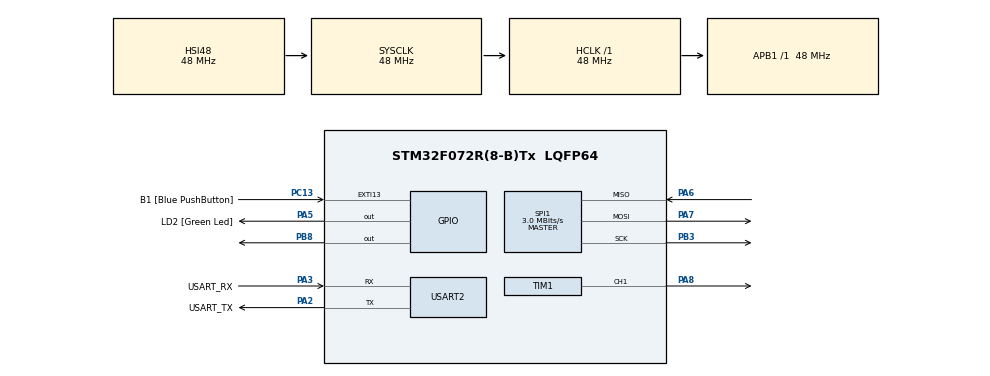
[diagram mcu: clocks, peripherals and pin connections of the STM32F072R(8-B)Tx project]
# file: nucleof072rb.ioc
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Mcu.Family=STM32F0
Mcu.Name=STM32F072R(8-B)Tx
Mcu.Package=LQFP64
PA13.GPIO_Label=TMS
PA13.Mode=Serial_Wire
PA13.Signal=SYS_SWDIO
PA14.GPIO_Label=TCK
PA14.Mode=Serial_Wire
PA14.Signal=SYS_SWCLK
PA2.GPIO_Label=USART_TX
PA2.GPIO_Mode=GPIO_MODE_AF_PP
PA2.GPIO_PuPd=GPIO_NOPULL
PA2.GPIO_Speed=GPIO_SPEED_FREQ_LOW
PA2.Mode=Asynchronous
PA2.Signal=USART2_TX
PA3.GPIO_Label=USART_RX
PA3.GPIO_Mode=GPIO_MODE_AF_PP
PA3.GPIO_PuPd=GPIO_NOPULL
PA3.GPIO_Speed=GPIO_SPEED_FREQ_LOW
PA3.Mode=Asynchronous
PA3.Signal=USART2_RX
PA5.GPIO_Label=LD2 [Green Led]
PA5.GPIO_Mode=GPIO_MODE_OUTPUT_PP
PA5.GPIO_PuPd=GPIO_NOPULL
PA5.GPIO_Speed=GPIO_SPEED_FREQ_LOW
PA5.Signal=GPIO_Output
PA6.Mode=Full_Duplex_Master
PA6.Signal=SPI1_MISO
PA7.Mode=Full_Duplex_Master
PA7.Signal=SPI1_MOSI
PA8.Signal=S_TIM1_CH1
PB3.Mode=Full_Duplex_Master
PB3.Signal=SPI1_SCK
PB8.Signal=GPIO_Output
PC13.GPIO_Label=B1 [Blue PushButton]
PC13.GPIO_ModeDefaultEXTI=GPIO_MODE_IT_FALLING
PC13.Signal=GPXTI13
PC14-OSC32_IN.Mode=LSE-External-Oscillator
PC14-OSC32_IN.Signal=RCC_OSC32_IN
PC15-OSC32_OUT.Mode=LSE-External-Oscillator
PC15-OSC32_OUT.Signal=RCC_OSC32_OUT
PF0-OSC_IN.Mode=HSE-External-Clock-Source
PF0-OSC_IN.Signal=RCC_OSC_IN
PF1-OSC_OUT.Signal=RCC_OSC_OUT
ProjectManager.HeapSize=0x200
ProjectManager.StackSize=0x400
ProjectManager.TargetToolchain=STM32CubeIDE
RCC.AHBFreq_Value=48000000
RCC.APB1Freq_Value=48000000
RCC.APB1TimFreq_Value=48000000
RCC.FLatency-AdvancedSettings=FLASH_LATENCY_1
RCC.HCLKFreq_Value=48000000
RCC.PLLDivider=RCC_PREDIV_DIV2
RCC.PLLMUL=RCC_PLL_MUL12
RCC.PREFETCH_ENABLE-AdvancedSettings=1
RCC.SYSCLKFreq_VALUE=48000000
RCC.SYSCLKSource=RCC_SYSCLKSOURCE_HSI48
SH.S_TIM1_CH1.0=TIM1_CH1,PWM Generation1 CH1
SPI1.BaudRatePrescaler=SPI_BAUDRATEPRESCALER_16
SPI1.CLKPhase=SPI_PHASE_2EDGE
SPI1.CLKPolarity=SPI_POLARITY_LOW
SPI1.CalculateBaudRate=3.0 MBits/s
SPI1.DataSize=SPI_DATASIZE_8BIT
SPI1.Direction=SPI_DIRECTION_2LINES
SPI1.Mode=SPI_MODE_MASTER
SPI1.VirtualType=VM_MASTER
TIM1.Channel-PWM\ Generation1\ CH1=TIM_CHANNEL_1
TIM1.Period=64000
TIM1.Prescaler=13
USART2.VirtualMode=VM_ASYNC
USART2.VirtualMode-Asynchronous=VM_ASYNC
VP_TIM1_VS_ClockSourceINT.Mode=Internal
board=NUCLEO-F072RB

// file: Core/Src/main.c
/* USER CODE BEGIN Header */
/**
  ******************************************************************************
  * @file           : main.c
  * @brief          : Main program body
  ******************************************************************************
  * @attention
  *
  * <h2><center>&copy; Copyright (c) 2021 STMicroelectronics.
  * All rights reserved.</center></h2>
  *
  * This software component is licensed by ST under BSD 3-Clause license,
  * the "License"; You may not use this file except in compliance with the
  * License. You may obtain a copy of the License at:
  *                        opensource.org/licenses/BSD-3-Clause
  *
  ******************************************************************************
  */
/* USER CODE END Header */
#include "main.h"
#include "spi.h"
#include "tim.h"
#include "usart.h"
#include "gpio.h"

void SystemClock_Config(void);

int main(void)
{

  /* MCU Configuration--------------------------------------------------------*/

  /* Reset of all peripherals, Initializes the Flash interface and the Systick. */
  HAL_Init();

  /* Configure the system clock */
  SystemClock_Config();

  /* Initialize all configured peripherals */
  MX_GPIO_Init();
  MX_USART2_UART_Init();
  MX_SPI1_Init();
  MX_TIM1_Init();
  /* USER CODE BEGIN 2 */

  HAL_GPIO_WritePin(GPIOB, 8, GPIO_PIN_SET);
  const int TOTAL_PERIOD = __HAL_TIM_GetAutoreload(&htim1);
  const int ADC_MAX = 1023;
  const int MIN_PULSE = TOTAL_PERIOD * 5 / 100;
  const int MAX_PULSE = TOTAL_PERIOD * 10 / 100;
  int duty_cycle;
  uint8_t tx_data[] = {0x01, 0x80, 0};
  uint8_t rx_data[3];
  int adc_value;
  int bits_8_to_9;
  int bits_0_to_7;

  HAL_TIM_PWM_Start(&htim1, TIM_CHANNEL_1);

  /* USER CODE END 2 */

  /* Infinite loop */
  /* USER CODE BEGIN WHILE */
  while (1)
  {
	  HAL_GPIO_WritePin(GPIOB, 8, GPIO_PIN_RESET);
	  HAL_SPI_TransmitReceive(&hspi1, tx_data, rx_data, 3, HAL_MAX_DELAY);
	  HAL_GPIO_WritePin(GPIOB, 8, GPIO_PIN_SET);

	  bits_8_to_9 = rx_data[1] & 0x03;
	  bits_0_to_7 = rx_data[2];
	  //shift the 8th and 9th bit to the right spot by multiplying by 2^8
	  adc_value = (bits_8_to_9 << 8) + bits_0_to_7;

	  // linearly map the adc value to a pwm width
	  duty_cycle = MIN_PULSE + (MAX_PULSE - MIN_PULSE) * adc_value / ADC_MAX;
	  __HAL_TIM_SET_COMPARE(&htim1, TIM_CHANNEL_1, duty_cycle);

	  HAL_Delay(10);

    /* USER CODE END WHILE */

  }
}

void SystemClock_Config(void)
{
  RCC_OscInitTypeDef RCC_OscInitStruct = {0};
  RCC_ClkInitTypeDef RCC_ClkInitStruct = {0};
  RCC_PeriphCLKInitTypeDef PeriphClkInit = {0};

  /** Initializes the RCC Oscillators according to the specified parameters
  * in the RCC_OscInitTypeDef structure.
  */
  RCC_OscInitStruct.OscillatorType = RCC_OSCILLATORTYPE_HSI48;
  RCC_OscInitStruct.HSI48State = RCC_HSI48_ON;
  RCC_OscInitStruct.PLL.PLLState = RCC_PLL_NONE;
  if (HAL_RCC_OscConfig(&RCC_OscInitStruct) != HAL_OK)
  {
    Error_Handler();
  }
  /** Initializes the CPU, AHB and APB buses clocks
  */
  RCC_ClkInitStruct.ClockType = RCC_CLOCKTYPE_HCLK|RCC_CLOCKTYPE_SYSCLK
                              |RCC_CLOCKTYPE_PCLK1;
  RCC_ClkInitStruct.SYSCLKSource = RCC_SYSCLKSOURCE_HSI48;
  RCC_ClkInitStruct.AHBCLKDivider = RCC_SYSCLK_DIV1;
  RCC_ClkInitStruct.APB1CLKDivider = RCC_HCLK_DIV1;

  if (HAL_RCC_ClockConfig(&RCC_ClkInitStruct, FLASH_LATENCY_1) != HAL_OK)
  {
    Error_Handler();
  }
  PeriphClkInit.PeriphClockSelection = RCC_PERIPHCLK_USART2;
  PeriphClkInit.Usart2ClockSelection = RCC_USART2CLKSOURCE_PCLK1;
  if (HAL_RCCEx_PeriphCLKConfig(&PeriphClkInit) != HAL_OK)
  {
    Error_Handler();
  }
}

void Error_Handler(void)
{
  __disable_irq();
  while (1)
  {
  }
}

/************************ (C) COPYRIGHT STMicroelectronics *****END OF FILE****/
